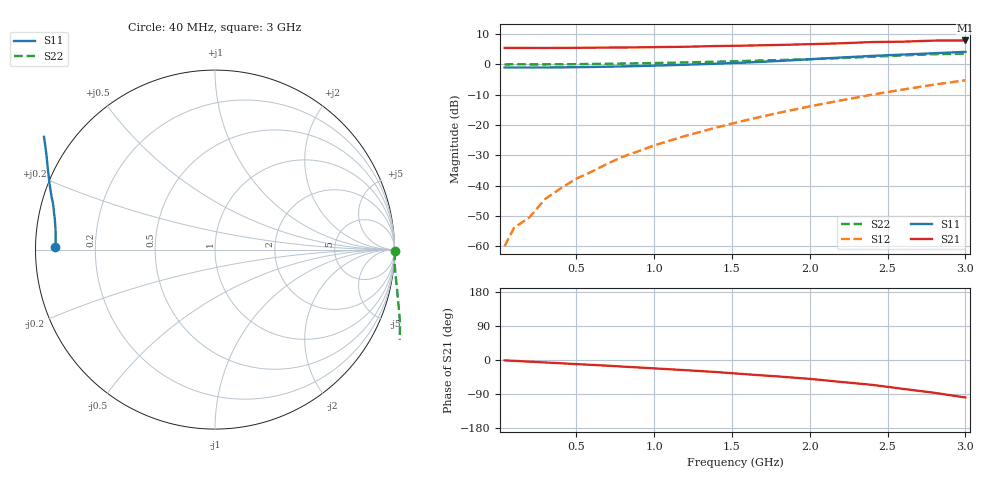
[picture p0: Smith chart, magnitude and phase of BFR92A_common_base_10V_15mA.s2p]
! Filename:  BFR92ACI.S2P  Version:  2.0
! Philips part #: BFR92A  Date: Jul 1990
! Bias condition: Vce=10V, Ic=15mA
! COMMON BASE
#  MHz  S  MA  R  50
! Freq  S11  S21  S12  S22
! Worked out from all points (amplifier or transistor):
!   21 points, 40 MHz to 3 GHz, reference 50 ohm
!   highest |S21| = 7.9 dB at 3 GHz (marker M1)
!   |S21| within 3 dB of that: start of sweep to end of sweep
!   unconditionally stable (mu >= 1): nowhere
!   at 300 MHz: K = -0.59, MSG = 24.9 dB, |S12| = -44.4 dB
!   at 1 GHz: K = -0.94, MSG = 16.2 dB, |S12| = -26.7 dB
!   at 3 GHz: K = -0.89, MSG = 6.6 dB, |S12| = -5.2 dB
40  0.89 179.0  1.879 -1.0  0.001 61.3  1.002 -0.6
100  0.889 178.0  1.876 -2.1  0.002 78.0  1.004 -1.3
200  0.89 176.1  1.874 -4.4  0.003 111.8  1.003 -2.9
300  0.892 174.4  1.872 -6.5  0.006 123.9  1.003 -4.3
400  0.896 172.7  1.877 -8.6  0.009 131.5  1.008 -5.8
500  0.902 170.9  1.882 -10.8  0.013 135.1  1.013 -7.2
600  0.909 169.1  1.894 -12.9  0.017 138.9  1.019 -8.7
700  0.919 167.3  1.9 -15.0  0.023 142.7  1.026 -10.1
800  0.929 165.5  1.908 -17.5  0.03 143.7  1.035 -11.7
900  0.941 163.8  1.916 -19.7  0.037 145.6  1.044 -13.3
1000  0.957 162.1  1.934 -22.1  0.046 146.5  1.054 -14.9
1200  0.99 158.5  1.961 -26.8  0.066 147.5  1.08 -18.3
1400  1.029 154.7  2.013 -31.8  0.091 146.7  1.111 -21.9
1600  1.078 150.6  2.051 -37.9  0.122 145.8  1.145 -26.0
1800  1.141 146.6  2.101 -43.5  0.159 143.6  1.182 -30.6
2000  1.22 142.2  2.163 -49.8  0.203 140.8  1.222 -36.0
2200  1.301 137.7  2.235 -57.8  0.255 137.6  1.275 -42.4
2400  1.385 132.7  2.344 -65.5  0.317 133.2  1.342 -49.6
2600  1.457 126.2  2.379 -76.2  0.386 128.4  1.413 -57.4
2800  1.533 117.8  2.48 -86.5  0.465 121.9  1.476 -65.5
3000  1.614 108.8  2.491 -98.9  0.548 115.1  1.508 -74.8
